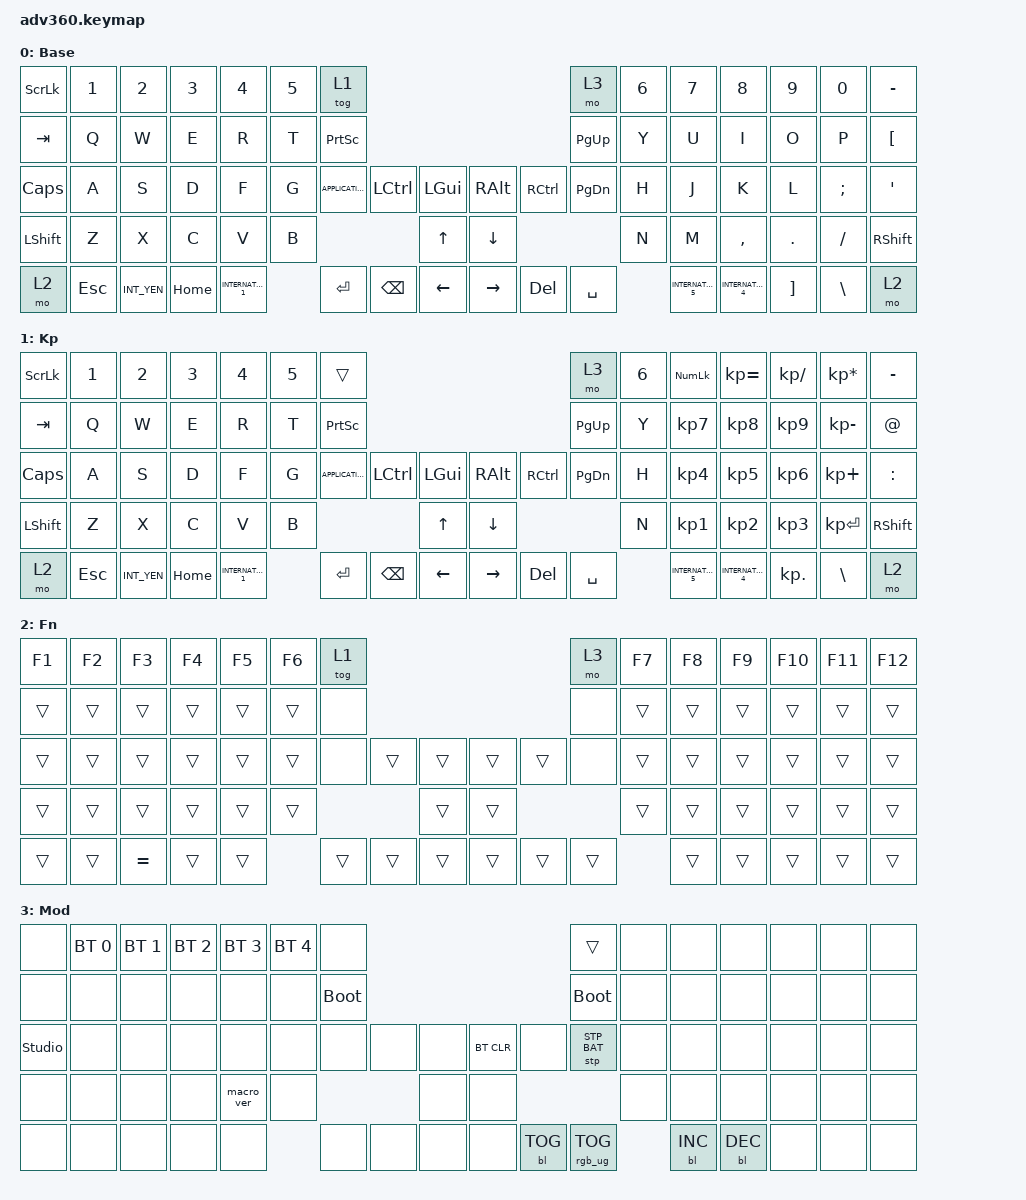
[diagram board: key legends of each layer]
#include <dt-bindings/zmk/stp.h>
#include <behaviors.dtsi>
#include <dt-bindings/zmk/backlight.h>
#include <dt-bindings/zmk/bt.h>
#include <dt-bindings/zmk/keys.h>
#include <dt-bindings/zmk/rgb.h>

/ {
    behaviors {
        #include "macros.dtsi"
      #include "version.dtsi"

        hm: homerow_mods {
            compatible = "zmk,behavior-hold-tap";
            label = "HOMEROW_MODS";
            #binding-cells = <2>;
            tapping-term-ms = <200>;
            quick_tap_ms = <175>;
            flavor = "tap-preferred";
            bindings = <&kp>, <&kp>;
        };
    };

    keymap {
        compatible = "zmk,keymap";

        default_layer {
            display-name = "Base";
            bindings = <
&kp SCROLLLOCK  &kp N1   &kp N2       &kp N3    &kp N4               &kp N5  &tog 1                                                                         &mo 3          &kp N6  &kp N7               &kp N8               &kp N9             &kp N0         &kp MINUS
&kp TAB         &kp Q    &kp W        &kp E     &kp R                &kp T   &kp PRINTSCREEN                                                                &kp PAGE_UP    &kp Y   &kp U                &kp I                &kp O              &kp P          &kp LEFT_BRACKET
&kp CAPS        &kp A    &kp S        &kp D     &kp F                &kp G   &kp K_APPLICATION  &kp LCTRL  &kp LGUI            &kp RALT         &kp RCTRL   &kp PAGE_DOWN  &kp H   &kp J                &kp K                &kp L              &kp SEMI       &kp SINGLE_QUOTE
&kp LSHFT       &kp Z    &kp X        &kp C     &kp V                &kp B                                 &kp UP_ARROW        &kp DOWN                                    &kp N   &kp M                &kp COMMA            &kp DOT            &kp FSLH       &kp RSHFT
&mo 2           &kp ESC  &kp INT_YEN  &kp HOME  &kp INTERNATIONAL_1          &kp ENTER          &kp BSPC   &kp LEFT_ARROW      &kp RIGHT_ARROW  &kp DELETE  &kp SPACE              &kp INTERNATIONAL_5  &kp INTERNATIONAL_4  &kp RIGHT_BRACKET  &kp BACKSLASH  &mo 2
            >;
        };

        keypad {
            display-name = "Kp";
            bindings = <
&kp SCROLLLOCK  &kp N1   &kp N2       &kp N3    &kp N4               &kp N5  &trans                                                                         &mo 3          &kp N6  &kp KP_NUM           &kp KP_EQUAL         &kp KP_DIVIDE  &kp KP_MULTIPLY  &kp MINUS
&kp TAB         &kp Q    &kp W        &kp E     &kp R                &kp T   &kp PRINTSCREEN                                                                &kp PAGE_UP    &kp Y   &kp KP_N7            &kp KP_N8            &kp KP_N9      &kp KP_MINUS     &kp AT_SIGN
&kp CAPS        &kp A    &kp S        &kp D     &kp F                &kp G   &kp K_APPLICATION  &kp LCTRL  &kp LGUI            &kp RIGHT_ALT    &kp RCTRL   &kp PAGE_DOWN  &kp H   &kp KP_N4            &kp KP_N5            &kp KP_N6      &kp KP_PLUS      &kp COLON
&kp LSHFT       &kp Z    &kp X        &kp C     &kp V                &kp B                                 &kp UP_ARROW        &kp DOWN_ARROW                              &kp N   &kp KP_N1            &kp KP_N2            &kp KP_N3      &kp KP_ENTER     &kp RSHFT
&mo 2           &kp ESC  &kp INT_YEN  &kp HOME  &kp INTERNATIONAL_1          &kp ENTER          &kp BSPC   &kp LEFT_ARROW      &kp RIGHT_ARROW  &kp DELETE  &kp SPACE              &kp INTERNATIONAL_5  &kp INTERNATIONAL_4  &kp KP_DOT     &kp BACKSLASH    &mo 2
            >;
        };

        fn {
            display-name = "Fn";
            bindings = <
&kp F1  &kp F2  &kp F3     &kp F4  &kp F5  &kp F6  &tog 1                                      &mo 3   &kp F7  &kp F8  &kp F9  &kp F10  &kp F11  &kp F12
&trans  &trans  &trans     &trans  &trans  &trans  &none                                       &none   &trans  &trans  &trans  &trans   &trans   &trans
&trans  &trans  &trans     &trans  &trans  &trans  &none   &trans  &trans      &trans  &trans  &none   &trans  &trans  &trans  &trans   &trans   &trans
&trans  &trans  &trans     &trans  &trans  &trans                  &trans      &trans                  &trans  &trans  &trans  &trans   &trans   &trans
&trans  &trans  &kp EQUAL  &trans  &trans          &trans  &trans  &trans      &trans  &trans  &trans          &trans  &trans  &trans   &trans   &trans
            >;
        };

        mod {
            display-name = "Mod";
            bindings = <
&none           &bt BT_SEL 0  &bt BT_SEL 1  &bt BT_SEL 2  &bt BT_SEL 3  &bt BT_SEL 4  &none                                                  &trans           &none  &none       &none       &none  &none  &none
&none           &none         &none         &none         &none         &none         &bootloader                                            &bootloader      &none  &none       &none       &none  &none  &none
&studio_unlock  &none         &none         &none         &none         &none         &none        &none  &none      &bt BT_CLR  &none       &stp STP_BAT     &none  &none       &none       &none  &none  &none
&none           &none         &none         &none         &macro_ver    &none                             &none      &none                                    &none  &none       &none       &none  &none  &none
&none           &none         &none         &none         &none                       &none        &none  &none      &none       &bl BL_TOG  &rgb_ug RGB_TOG         &bl BL_INC  &bl BL_DEC  &none  &none  &none
            >;
        };

        extra1 {
            display-name = "Red";
            status = "reserved";
        };

        extra2 {
            display-name = "Purple";
            status = "reserved";
        };

        extra3 {
            display-name = "Cyan";
            status = "reserved";
        };

        extra4 {
            display-name = "Yellow";
            status = "reserved";
        };
    };
};
